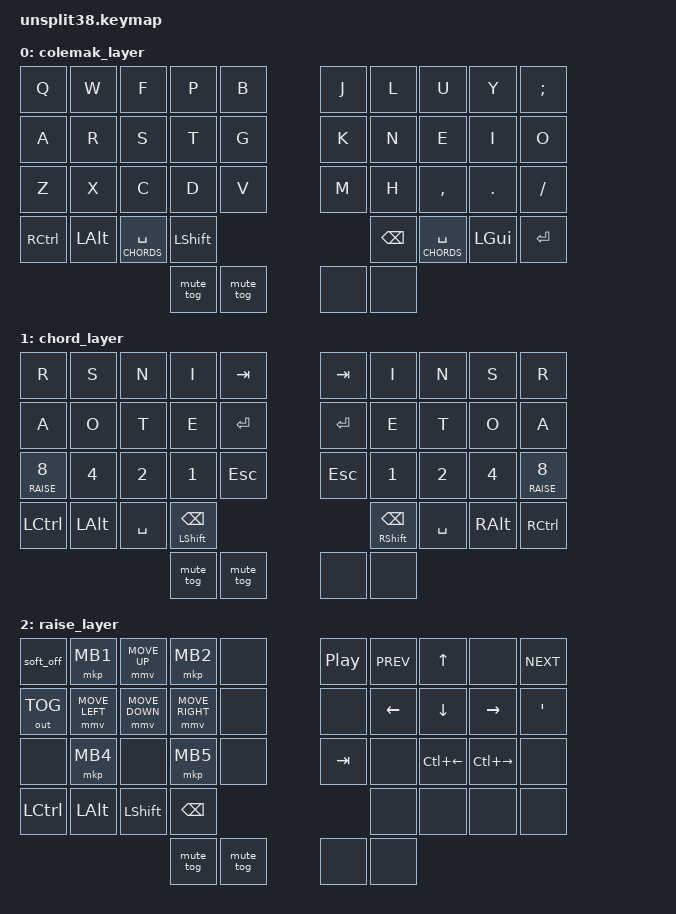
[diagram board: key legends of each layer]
/*
 * Copyright (c) 2020 The ZMK Contributors
 *
 * SPDX-License-Identifier: MIT
 */

////
//// TODO: 
////       * optimize nav layer
////          * see about removing two-layer arrow key situation
////          * add mouse-events and keys
////       * add delete key
////       * OS-specific default layers, perhaps
////       * optimize modifiers and chording functionality
////          * mess with combo timeouts and hold-taps

#define ZMK_POINTING_DEFAULT_MOVE_VAL 1000  // default: 600

#include <behaviors.dtsi>
#include <dt-bindings/zmk/keys.h>
#include <dt-bindings/zmk/bt.h>
#include <dt-bindings/zmk/outputs.h>
#include <dt-bindings/zmk/pointing.h>

// layers
#define COLEMAK 0
#define CHORDS   1
#define RAISE 2

// CONFIG
#define COMBO_TIMEOUT 50
#define COMBO_LAYERS 1
#define STICKY_TIMEOUT 500

// | 1  |  2  |  3  |  4  |  5  |  6  |  7  |  8  |  9  |  10  |
// | 11 |  12 |  13 |  14 |  15 |  16 |  17 |  18 |  19 |  20  |
// | 21 |  22 |  23 |  24 |  25 |  26 |  27 |  28 |  29 |  30  |
// |  31  |   32    |  33 |  34 |  35 |  36 |   37   |  38     |

&sk {
    release-after-ms = <STICKY_TIMEOUT>;
    quick-release;
};

/ {

      macros {
        mute_tog: mute_tog {
            compatible = "zmk,behavior-macro";
            #binding-cells = <0>;
            bindings
                = <&macro_tap &kp F24>
                ;
        };

        tog_2: tog_2 {
            compatible = "zmk,behavior-macro";
            #binding-cells = <0>;
            bindings
                = <&macro_press &kp LSHFT>
                , <&macro_tap &kp T &kp O &kp G &kp N2>
                , <&macro_release &kp LSHFT>
                ;
        };

    };
    
    behaviors {
       
        ht: balanced_hold_tap {
            compatible = "zmk,behavior-hold-tap";
            #binding-cells = <2>;
            flavor = "balanced";
            tapping-term-ms = <400>;
            quick-tap-ms = <120>;
            bindings = <&kp>, <&kp>;
        };

        lt_spc: layer_tap_space {
            compatible = "zmk,behavior-hold-tap";
            label = "LAYER_TAP_MO_SPC";
            #binding-cells = <2>;
            flavor = "tap-preferred";
            tapping-term-ms = <200>;
            quick-tap-ms = <200>;
            require-prior-idle-ms = <125>;
            bindings = <&mo>, <&kp>;
        };

    };

    combos {
      compatible = "zmk,combos";
      #include "chords.dtsi"

      combo_l_toggle_chords { \
            timeout-ms = <COMBO_TIMEOUT>; \
            bindings = <&tog CHORDS>; \
            key-positions = <20 21 22 23>; \
            layers = <COLEMAK CHORDS>; \
      };

      combo_r_toggle_chords { \
            timeout-ms = <COMBO_TIMEOUT>; \
            bindings = <&tog CHORDS>; \
            key-positions = <26 27 28 29>; \
            layers = <COLEMAK CHORDS>; \
      };

    };

    keymap {
        compatible = "zmk,keymap";

        colemak_layer {
                bindings = <
&kp Q &kp W &kp F &kp P &kp B                         &kp J  &kp L &kp U  &kp Y     &kp SEMI  
&kp A &kp R &kp S &kp T &kp G                         &kp K  &kp N &kp E  &kp I     &kp O  
&kp Z &kp X &kp C &kp D &kp V                         &kp M  &kp H &kp COMMA  &kp DOT &kp SLASH
&kp RCTL &kp LALT &lt_spc CHORDS SPACE &kp LSHFT      &kp BSPC  &lt_spc CHORDS SPACE &kp LGUI  &kp ENTER
&mute_tog &mute_tog &none &none
                >;
        };

        chord_layer {
                bindings = <
&kp R  &kp S  &kp N  &kp I  &kp TAB             &kp TAB  &kp I  &kp N  &kp S  &kp R
&kp A  &kp O  &kp T  &kp E  &kp ENTER           &kp ENTER &kp E  &kp T  &kp O  &kp A
&lt RAISE N8 &kp N4 &kp N2 &kp N1 &kp ESC       &kp ESC  &kp N1 &kp N2 &kp N4 &lt RAISE N8
&kp LCTL &kp LALT &kp SPC  &ht LSHFT BSPC      &ht RSHFT BSPC &kp SPC   &kp RALT   &kp RCTL
&mute_tog &mute_tog &none &none
                >;
        };

        raise_layer {
                bindings = <
&soft_off  &mkp MB1  &mmv MOVE_UP  &mkp MB2  &none           &kp C_PP  &kp C_PREV  &kp UP &none  &kp C_NEXT
&out OUT_TOG  &mmv MOVE_LEFT  &mmv MOVE_DOWN  &mmv MOVE_RIGHT  &none                &none  &kp LEFT  &kp DOWN &kp RIGHT  &kp APOS
&none &mkp MB4 &none &mkp MB5 &none                &kp TAB &none  &kp LC(LEFT)  &kp LC(RIGHT)  &none
&kp LCTL &kp LALT &kp LSHFT &kp BSPC          &none  &none   &none  &none
&mute_tog &mute_tog &none &none
                >;
        };

        
        
    };
};
